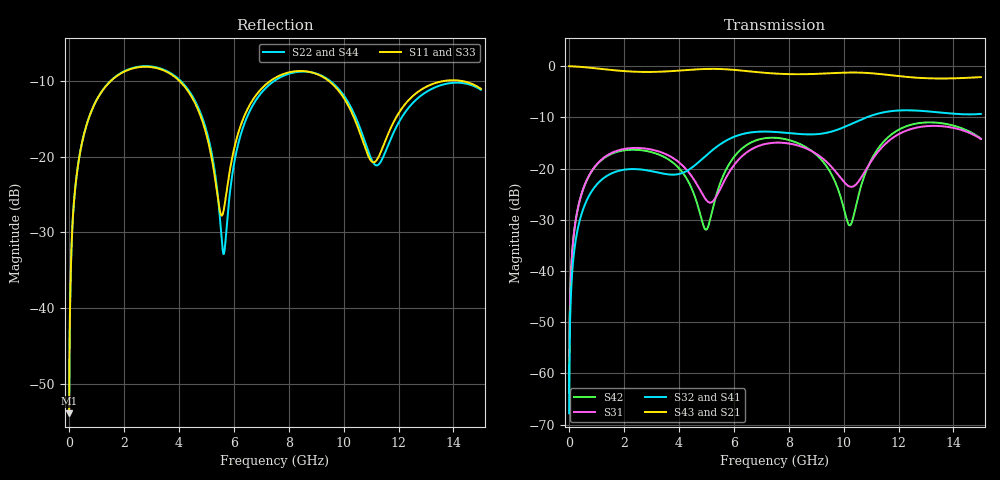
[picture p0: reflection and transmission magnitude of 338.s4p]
! Created with skrf 1.8.0 (http://scikit-rf.org).
# GHz S RI R 50.0
!freq ReS11 ImS11 ReS12 ImS12 ReS13 ImS13
! ReS14 ImS14
! ReS21 ImS21 ReS22 ImS22 ReS23 ImS23
! ReS24 ImS24
! ReS31 ImS31 ReS32 ImS32 ReS33 ImS33
! ReS34 ImS34
! ReS41 ImS41 ReS42 ImS42 ReS43 ImS43
! ReS44 ImS44
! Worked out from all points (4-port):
!   2499 points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, 5 MHz to 15 GHz, reference 50 ohm
!   strongest paths, dB at 5 MHz, 3.476 GHz, 7.19 GHz, 11.1 GHz, 15 GHz:
!     S43: 0.0, -1.1, -1.3, -1.4, -2.1
!     S21: 0.0, -1.1, -1.3, -1.4, -2.2
!     S32: -67.8, -21.0, -12.8, -9.5, -9.3
!     S41: -67.8, -21.1, -12.8, -9.5, -9.4
!     S31: -63.8, -17.1, -15.2, -17.8, -14.2
!     S42: -63.8, -17.8, -14.0, -17.4, -14.2
!   lowest |S11| = -53.9 dB at 5 MHz (marker M1), VSWR 1.00, Z = 50.2 + j0.122 ohm
!   |S11| at or under -10 dB: start of sweep to 1.526 GHz; 4.022 GHz to 7.336 GHz (3.314 GHz wide, 58.4 % of centre); 9.461 GHz to 13.67 GHz (4.211 GHz wide, 36.4 % of centre) (the widest 3 of 4)
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0.005  0.00161 0.00122  0.9984 -0.00313  8.07e-05 0.00064  -7.83e-05 -0.000401
       0.9984 -0.00313  0.00161 0.00122  -7.83e-05 -0.000401  8.06e-05 0.00064
       8.07e-05 0.00064  -7.83e-05 -0.000401  0.00161 0.00122  0.9984 -0.00313
       -7.83e-05 -0.000401  8.06e-05 0.00064  0.9984 -0.00313  0.00161 0.00122
0.3126303  0.0232 0.0804  0.9683 -0.1947  0.011 0.038  -0.00886 -0.0236
           0.9683 -0.1947  0.0233 0.0804  -0.00887 -0.0236  0.0103 0.0382
           0.011 0.038  -0.00887 -0.0236  0.0232 0.0804  0.9683 -0.1947
           -0.00886 -0.0236  0.0103 0.0382  0.9683 -0.1947  0.0233 0.0804
1.519383  0.2562 0.1841  0.5765 -0.7134  0.1276 0.0592  -0.0882 -0.0108
          0.5765 -0.7134  0.259 0.1824  -0.0882 -0.0107  0.1185 0.0706
          0.1276 0.0592  -0.0882 -0.0107  0.2561 0.1841  0.5765 -0.7133
          -0.0882 -0.0108  0.1185 0.0706  0.5765 -0.7133  0.259 0.1823
5.433514  0.0418 -0.0299  -0.9262 -0.1478  -0.0419 0.0396  -0.0249 0.1654
          -0.9262 -0.1478  0.0247 -0.046  -0.0232 0.1655  0.0295 0.0558
          -0.0419 0.0396  -0.0232 0.1655  0.0435 -0.0295  -0.9262 -0.148
          -0.0249 0.1654  0.0295 0.0558  -0.9262 -0.148  0.023 -0.0459
8.73489  0.3598 -0.0504  0.0324 0.8335  0.1237 -0.0896  0.2046 -0.0653
         0.0324 0.8335  0.3599 -0.0414  0.2042 -0.0685  0.1297 -0.0853
         0.1237 -0.0896  0.2042 -0.0685  0.3568 -0.0509  0.0317 0.8346
         0.2046 -0.0653  0.1297 -0.0853  0.0317 0.8346  0.3578 -0.0397
11.37974  0.1046 0.0335  0.8331 0.0331  -0.00168 0.1592  0.00117 -0.3506
          0.8331 0.0331  0.0934 0.0133  -0.00511 -0.3501  0.0444 0.1672
          -0.00168 0.1592  -0.00511 -0.3501  0.1069 0.0362  0.833 0.0337
          0.00117 -0.3506  0.0444 0.1672  0.833 0.0337  0.0908 0.0186
15  0.2493 -0.1281  -0.1938 -0.7547  0.1361 -0.1386  -0.3081 0.1441
    -0.1938 -0.7547  0.2469 -0.1239  -0.3054 0.1529  0.1391 -0.1379
    0.1361 -0.1386  -0.3054 0.1529  0.2436 -0.1241  -0.1913 -0.7571
    -0.3081 0.1441  0.1391 -0.1379  -0.1913 -0.7571  0.2436 -0.1221
